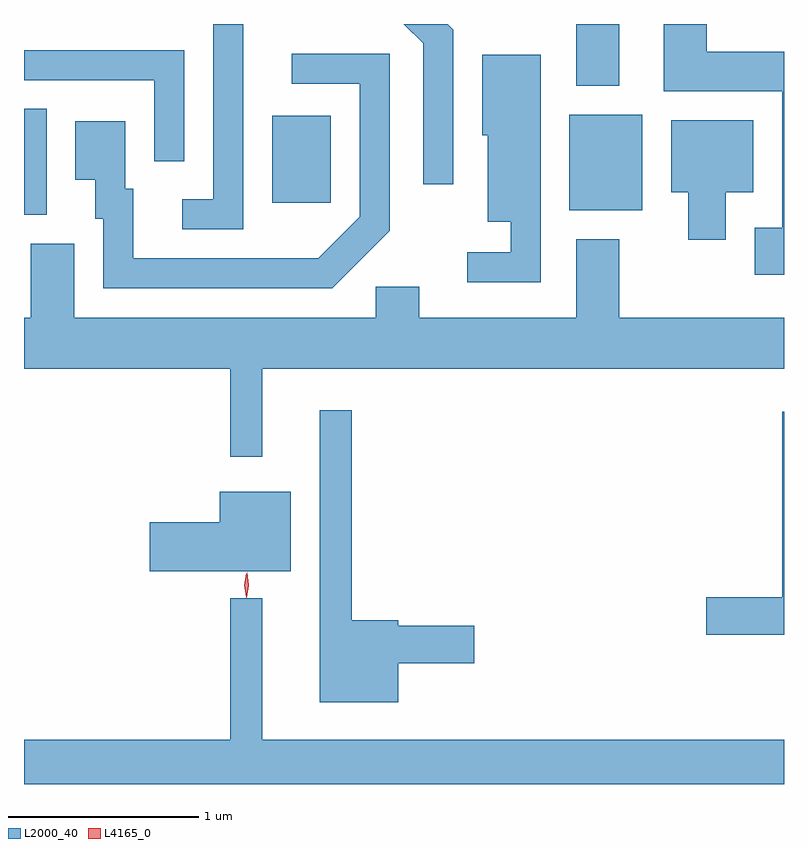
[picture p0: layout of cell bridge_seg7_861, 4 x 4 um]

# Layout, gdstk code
import gdstk
lib = gdstk.Library(unit=1e-6, precision=1e-09)
def R(c, l, rs):  # rectangles x0, y0, x1, y1
    for r in rs: c.add(gdstk.rectangle(r[:2], r[2:], *l))
def P(c, l, *ps):  # polygons
    for p in ps: c.add(gdstk.Polygon(p, *l))
L2000_40 = (2000, 40)
L4165_0 = (4165, 0)

bridge_seg7_861 = lib.new_cell('bridge_seg7_861')
R(bridge_seg7_861, L2000_40, [(277.535,1721.786,277.654,1722.344), (280.406,1721.811,280.789,1722.314), (278.841,1721.851,279.149,1722.309), (280.441,1722.466,280.669,1722.791)])
P(bridge_seg7_861, L2000_40, [(281.535,1722.644),(281.129,1722.644),(281.129,1722.791),(280.901,1722.791),(280.901,1722.436),(281.526,1722.436),(281.526,1721.719),(281.381,1721.719),(281.381,1721.471),(281.535,1721.471)],
  [(279.794,1722.762),(279.765,1722.791),(279.534,1722.791),(279.636,1722.689),(279.636,1721.948),(279.794,1721.948)],
  [(278.689,1722.791),(278.531,1722.791),(278.531,1721.869),(278.368,1721.869),(278.368,1721.711),(278.689,1721.711)],
  [(278.379,1722.654),(277.535,1722.654),(277.535,1722.496),(278.221,1722.496),(278.221,1722.068),(278.379,1722.068)],
  [(279.459,1721.704),(279.459,1722.634),(278.943,1722.634),(278.943,1722.476),(279.301,1722.476),(279.301,1721.777),(279.084,1721.559),(278.109,1721.559),(278.109,1721.924),(278.069,1721.924),(278.069,1722.279),(277.806,1722.279),(277.806,1721.971),(277.911,1721.971),(277.911,1721.766),(277.951,1721.766),(277.951,1721.401),(279.157,1721.401)],
  [(280.254,1722.629),(279.946,1722.629),(279.946,1722.206),(279.976,1722.206),(279.976,1721.751),(280.096,1721.751),(280.096,1721.589),(279.868,1721.589),(279.868,1721.431),(280.254,1721.431)],
  [(281.229,1721.906),(281.374,1721.906),(281.374,1722.284),(280.941,1722.284),(280.941,1721.906),(281.031,1721.906),(281.031,1721.656),(281.229,1721.656)],
  [(278.789,1720.976),(281.535,1720.976),(281.535,1721.244),(280.669,1721.244),(280.669,1721.659),(280.441,1721.659),(280.441,1721.244),(279.614,1721.244),(279.614,1721.409),(279.386,1721.409),(279.386,1721.244),(277.799,1721.244),(277.799,1721.634),(277.571,1721.634),(277.571,1721.244),(277.535,1721.244),(277.535,1720.976),(278.621,1720.976),(278.621,1720.513),(278.789,1720.513)],
  [(279.504,1719.426),(279.904,1719.426),(279.904,1719.624),(279.504,1719.624),(279.504,1719.654),(279.259,1719.654),(279.259,1720.758),(279.091,1720.758),(279.091,1719.221),(279.504,1719.221)],
  [(281.535,1720.749),(281.526,1720.749),(281.526,1719.774),(281.126,1719.774),(281.126,1719.576),(281.535,1719.576)],
  [(278.939,1720.329),(278.566,1720.329),(278.566,1720.169),(278.196,1720.169),(278.196,1719.911),(278.939,1719.911)],
  [(281.535,1719.024),(278.789,1719.024),(278.789,1719.768),(278.621,1719.768),(278.621,1719.024),(277.535,1719.024),(277.535,1718.791),(281.535,1718.791)])
P(bridge_seg7_861, L4165_0, [(278.704,1719.773),(278.695,1719.836),(278.704,1719.899),(278.705,1719.9),(278.706,1719.899),(278.715,1719.836),(278.706,1719.773),(278.705,1719.773)],
  [(278.707,1719.77),(278.699,1719.838),(278.709,1719.905),(278.709,1719.906),(278.71,1719.905),(278.719,1719.838),(278.708,1719.77),(278.708,1719.77)])

lib.write_gds('bridge_seg7_861.gds')
